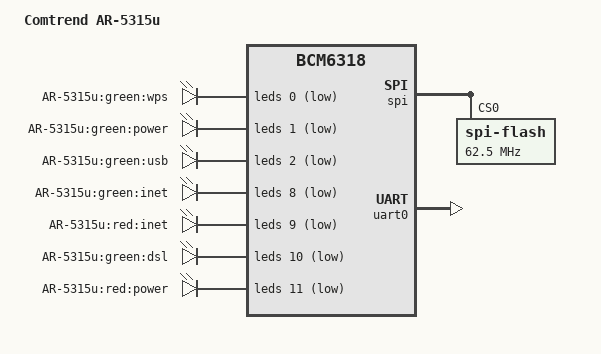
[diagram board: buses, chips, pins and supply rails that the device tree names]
/*
 * Copyright (C) 2018 Álvaro Fernández Rojas <noltari@gmail.com>
 *
 * SPDX-License-Identifier:	GPL-2.0+
 */

/dts-v1/;

#include "brcm,bcm6318.dtsi"

/ {
	model = "Comtrend AR-5315u";
	compatible = "comtrend,ar5315-un", "brcm,bcm6318";

	aliases {
		serial0 = &uart0;
	};

	chosen {
		stdout-path = "serial0:115200n8";
	};
};

&leds {
	status = "okay";

	led@0 {
		reg = <0>;
		active-low;
		label = "AR-5315u:green:wps";
	};

	led@1 {
		reg = <1>;
		active-low;
		label = "AR-5315u:green:power";
	};

	led@2 {
		reg = <2>;
		active-low;
		label = "AR-5315u:green:usb";
	};

	led@8 {
		reg = <8>;
		active-low;
		label = "AR-5315u:green:inet";
	};

	led@9 {
		reg = <9>;
		active-low;
		label = "AR-5315u:red:inet";
	};

	led@10 {
		reg = <10>;
		active-low;
		label = "AR-5315u:green:dsl";
	};

	led@11 {
		reg = <11>;
		active-low;
		label = "AR-5315u:red:power";
	};
};

&spi {
	status = "okay";

	spi-flash@0 {
		compatible = "spi-flash";
		reg = <0>;
		#address-cells = <1>;
		#size-cells = <1>;
		spi-max-frequency = <62500000>;
	};
};

&uart0 {
	u-boot,dm-pre-reloc;
	status = "okay";
};
